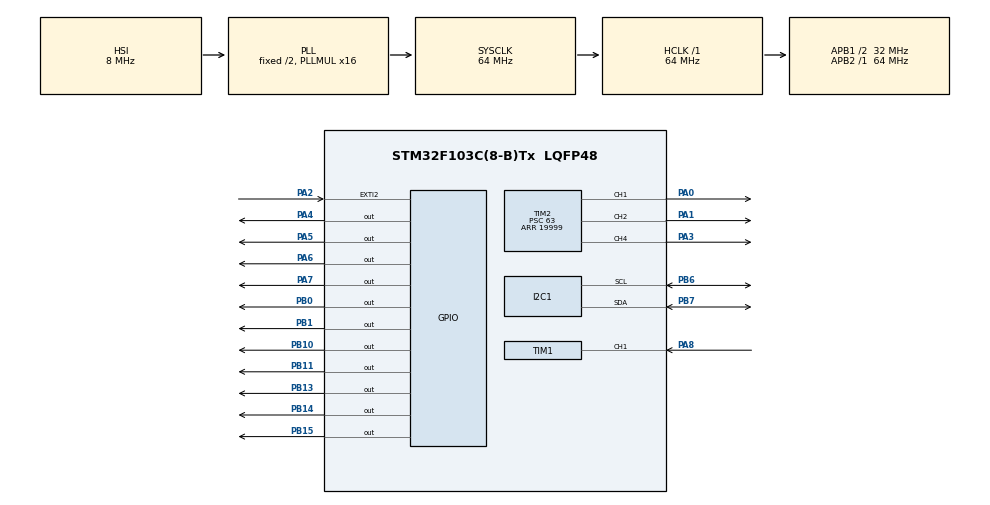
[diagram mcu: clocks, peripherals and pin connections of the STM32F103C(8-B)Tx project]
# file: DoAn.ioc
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Mcu.Family=STM32F1
Mcu.Name=STM32F103C(8-B)Tx
Mcu.Package=LQFP48
NVIC.EXTI2_IRQn=true\:0\:0\:false\:false\:true\:true\:true\:true
NVIC.PriorityGroup=NVIC_PRIORITYGROUP_4
PA0-WKUP.Signal=S_TIM2_CH1_ETR
PA1.Signal=S_TIM2_CH2
PA13.Mode=Serial_Wire
PA13.Signal=SYS_JTMS-SWDIO
PA14.Mode=Serial_Wire
PA14.Signal=SYS_JTCK-SWCLK
PA2.GPIO_ModeDefaultEXTI=GPIO_MODE_IT_FALLING
PA2.GPIO_PuPd=GPIO_PULLUP
PA2.Signal=GPXTI2
PA3.Signal=S_TIM2_CH4
PA4.Signal=GPIO_Output
PA5.Signal=GPIO_Output
PA6.Signal=GPIO_Output
PA7.Signal=GPIO_Output
PA8.Signal=S_TIM1_CH1
PB0.Signal=GPIO_Output
PB1.Signal=GPIO_Output
PB10.Signal=GPIO_Output
PB11.Signal=GPIO_Output
PB13.Signal=GPIO_Output
PB14.Signal=GPIO_Output
PB15.Signal=GPIO_Output
PB6.Mode=I2C
PB6.Signal=I2C1_SCL
PB7.Mode=I2C
PB7.Signal=I2C1_SDA
PD0-OSC_IN.Mode=HSE-External-Oscillator
PD0-OSC_IN.Signal=RCC_OSC_IN
PD1-OSC_OUT.Mode=HSE-External-Oscillator
PD1-OSC_OUT.Signal=RCC_OSC_OUT
ProjectManager.HeapSize=0x200
ProjectManager.StackSize=0x400
ProjectManager.TargetToolchain=STM32CubeIDE
RCC.AHBFreq_Value=64000000
RCC.APB1CLKDivider=RCC_HCLK_DIV2
RCC.APB1Freq_Value=32000000
RCC.APB1TimFreq_Value=64000000
RCC.APB2Freq_Value=64000000
RCC.APB2TimFreq_Value=64000000
RCC.HCLKFreq_Value=64000000
RCC.PLLMUL=RCC_PLL_MUL16
RCC.SYSCLKFreq_VALUE=64000000
RCC.SYSCLKSource=RCC_SYSCLKSOURCE_PLLCLK
RCC.USBFreq_Value=64000000
SH.S_TIM1_CH1.0=TIM1_CH1,Input_Capture1_from_TI1
SH.S_TIM2_CH1_ETR.0=TIM2_CH1,PWM Generation1 CH1
SH.S_TIM2_CH2.0=TIM2_CH2,PWM Generation2 CH2
SH.S_TIM2_CH4.0=TIM2_CH4,PWM Generation4 CH4
TIM1.Channel-Input_Capture1_from_TI1=TIM_CHANNEL_1
TIM1.Prescaler=63
TIM2.Channel-PWM\ Generation1\ CH1=TIM_CHANNEL_1
TIM2.Channel-PWM\ Generation2\ CH2=TIM_CHANNEL_2
TIM2.Channel-PWM\ Generation4\ CH4=TIM_CHANNEL_4
TIM2.Period=19999
TIM2.Prescaler=63
VP_TIM1_VS_ClockSourceINT.Mode=Internal
VP_TIM2_VS_ClockSourceINT.Mode=Internal
board=custom

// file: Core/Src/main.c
/* USER CODE BEGIN Header */
/**
  ******************************************************************************
  * @file           : main.c
  * @brief          : Main program body
  ******************************************************************************
  * @attention
  *
  * Copyright (c) 2025 STMicroelectronics.
  * All rights reserved.
  *
  * This software is licensed under terms that can be found in the LICENSE file
  * in the root directory of this software component.
  * If no LICENSE file comes with this software, it is provided AS-IS.
  *
  ******************************************************************************
  */
/* USER CODE END Header */
#include "main.h"

/* USER CODE BEGIN Includes */
#include "liquidcrystal_i2c.h"
#include <stdio.h>    // Dùng cho snprintf
/* USER CODE END Includes */

I2C_HandleTypeDef hi2c1;

TIM_HandleTypeDef htim1;
TIM_HandleTypeDef htim2;

/* USER CODE BEGIN PV */
volatile uint32_t flag = 0;
volatile uint32_t start = 1;

int cnt_orange = 0;
int cnt_blue = 0;
int cnt_green = 0;
int cnt_yellow = 0;
int cnt_unknown = 0;
/* USER CODE END PV */

void SystemClock_Config(void);
static void MX_GPIO_Init(void);
static void MX_TIM2_Init(void);
static void MX_I2C1_Init(void);
static void MX_TIM1_Init(void);

/* USER CODE BEGIN 0 */
void servo_init();
void servo_write(uint16_t _ccr);

void servo_init()
{
	HAL_TIM_PWM_Start(&htim2, TIM_CHANNEL_1);
	HAL_TIM_PWM_Start(&htim2, TIM_CHANNEL_2);
	HAL_TIM_PWM_Start(&htim2, TIM_CHANNEL_4);
}

void servo1_write(uint16_t pwm1)
{

	uint16_t _ccr = (1000 * pwm1) / 180 + 1000;
	htim2.Instance->CCR1 = _ccr + 500;
}

void servo2_write(uint16_t pwm2)
{
	uint16_t _ccr = (1000 * pwm2) / 180 + 1000;
	htim2.Instance->CCR2 = _ccr - 100;
}

void servo3_write(uint16_t pwm3)
{
	uint16_t _ccr = (1000 * pwm3) / 180 + 1000;
	htim2.Instance->CCR4 = _ccr - 300;
}

void HAL_GPIO_EXTI_Callback(uint16_t GPIO_Pin)
{
  if (GPIO_Pin == GPIO_PIN_2)
  {
    static uint32_t last_interrupt_time = 0;
    uint32_t interrupt_time = HAL_GetTick();

    if (interrupt_time - last_interrupt_time > 200)
    {
      flag = 1;
    }
    last_interrupt_time = interrupt_time;
  }
}

uint32_t red = 0, green = 0, blue = 0;

uint32_t measure_pulse(void)
{
    uint32_t t1, t2;
    uint32_t timeout;

    __HAL_TIM_SET_COUNTER(&htim1, 0);
    __HAL_TIM_CLEAR_FLAG(&htim1, TIM_FLAG_CC1);

    timeout = HAL_GetTick();
    while (__HAL_TIM_GET_FLAG(&htim1, TIM_FLAG_CC1) == RESET)
    {
        if (HAL_GetTick() - timeout > 10)
            return 0;
    }
    t1 = HAL_TIM_ReadCapturedValue(&htim1, TIM_CHANNEL_1);
    __HAL_TIM_CLEAR_FLAG(&htim1, TIM_FLAG_CC1);

    timeout = HAL_GetTick();
    while (__HAL_TIM_GET_FLAG(&htim1, TIM_FLAG_CC1) == RESET)
    {
        if (HAL_GetTick() - timeout > 10)
            return 0;
    }
    t2 = HAL_TIM_ReadCapturedValue(&htim1, TIM_CHANNEL_1);

    return (t2 > t1) ? (t2 - t1) : 0;
}

uint32_t measure_pulse_avg(uint8_t samples)
{
    uint32_t sum = 0;
    for (uint8_t i = 0; i < samples; i++)
    {
        sum += measure_pulse();
    }
    return sum / samples;
}

void read_color(void) {
    // Filter Red
    HAL_GPIO_WritePin(GPIOB, GPIO_PIN_10, GPIO_PIN_RESET);
    HAL_GPIO_WritePin(GPIOB, GPIO_PIN_11, GPIO_PIN_RESET);
    red = measure_pulse_avg(5);
    HAL_Delay(3);

    // Filter Blue
    HAL_GPIO_WritePin(GPIOB, GPIO_PIN_10, GPIO_PIN_RESET);
    HAL_GPIO_WritePin(GPIOB, GPIO_PIN_11, GPIO_PIN_SET);
    blue = measure_pulse_avg(5);
    HAL_Delay(3);

    // Filter Green
    HAL_GPIO_WritePin(GPIOB, GPIO_PIN_10, GPIO_PIN_SET);
    HAL_GPIO_WritePin(GPIOB, GPIO_PIN_11, GPIO_PIN_SET);
    green = measure_pulse_avg(5);
    HAL_Delay(3);
}

/* USER CODE END 0 */

int main(void)
{

  /* MCU Configuration--------------------------------------------------------*/

  /* Reset of all peripherals, Initializes the Flash interface and the Systick. */
  HAL_Init();

  /* Configure the system clock */
  SystemClock_Config();

  /* Initialize all configured peripherals */
  MX_GPIO_Init();
  MX_TIM2_Init();
  MX_I2C1_Init();
  MX_TIM1_Init();
  /* USER CODE BEGIN 2 */
  servo_init();

  HAL_TIM_IC_Start(&htim1, TIM_CHANNEL_1);
  HAL_TIM_PWM_Start(&htim2, TIM_CHANNEL_1);
  HAL_TIM_PWM_Start(&htim2, TIM_CHANNEL_2);
  HAL_TIM_PWM_Start(&htim2, TIM_CHANNEL_4);

  // Thiết lập tần số TCS3200 100% (S0, S1 = HIGH)
  HAL_GPIO_WritePin(GPIOB, GPIO_PIN_0 | GPIO_PIN_1, GPIO_PIN_SET);

  servo2_write(180);
  servo1_write(180);

  HD44780_Init(2);

  HD44780_Clear();
  char buf_yellow[12];
  char buf_orange[12];
  char buf_green[12];
  char buf_unknown[12];

  itoa(cnt_yellow, buf_yellow, 10);
  itoa(cnt_orange, buf_orange, 10);
  itoa(cnt_green, buf_green, 10);
  itoa(cnt_unknown, buf_unknown, 10);

  HD44780_SetCursor(0,0);
  HD44780_PrintStr("Y: ");
  HD44780_SetCursor(3, 0);
  HD44780_PrintStr(buf_yellow);

  HD44780_SetCursor(9,0);
  HD44780_PrintStr("O: ");
  HD44780_SetCursor(12, 0);
  HD44780_PrintStr(buf_orange);

  HD44780_SetCursor(0,1);
  HD44780_PrintStr("G: ");
  HD44780_SetCursor(3,1);
  HD44780_PrintStr(buf_green);

  HD44780_SetCursor(9,1);
  HD44780_PrintStr("RAC: ");
  HD44780_SetCursor(14,1);
  HD44780_PrintStr(buf_unknown);

  /* USER CODE END 2 */

  /* Infinite loop */
  /* USER CODE BEGIN WHILE */
  while (1)
  {
	  if(flag || start)
	  {
		  flag = 0; start = 0;

		  read_color();
		  servo1_write(30);
		  HAL_Delay(2000);
		  servo1_write(165);
		  HAL_Delay(2000);

		  read_color();
		  if(!(red >= 100 && blue >= 100 && green >= 100))
		  {
			  if(blue >= red && blue >= green)
			  {
				  cnt_yellow++;
				  servo3_write(80);

				  // Xóa số cũ (ghi đè)
				  HD44780_SetCursor(3, 0);
				  HD44780_PrintStr("  ");

				  // In số mới
				  itoa(cnt_yellow, buf_yellow, 10);
				  HD44780_SetCursor(3, 0);
				  HD44780_PrintStr(buf_yellow);
			  }

			  else if(blue <= green && (red * 1.5) <= blue)
			  {
				  cnt_orange++;
				  servo3_write(140);

				  // Xóa số cũ (ghi đè)
				  HD44780_SetCursor(12, 0);
				  HD44780_PrintStr("  ");

				  // In số mới
				  itoa(cnt_orange, buf_orange, 10);
				  HD44780_SetCursor(12, 0);
				  HD44780_PrintStr(buf_orange);
			  }

			  else if(blue >= green && blue <= red)
			  {
				  cnt_green++;
				  servo3_write(190);

				  // Xóa số cũ (ghi đè)
				  HD44780_SetCursor(3, 1);
				  HD44780_PrintStr("  ");

				  // In số mới
				  itoa(cnt_green, buf_green, 10);
				  HD44780_SetCursor(3, 1);
				  HD44780_PrintStr(buf_green);
			  }

			  else
			  {
				  cnt_unknown++;
				  servo3_write(250);

				  // Xóa số cũ (ghi đè)
				  HD44780_SetCursor(14, 1);
				  HD44780_PrintStr("  ");

				  // In số mới
				  itoa(cnt_unknown, buf_unknown, 10);
				  HD44780_SetCursor(14, 1);
				  HD44780_PrintStr(buf_unknown);
			  }
			  HAL_Delay(1000);

			  servo2_write(15);
			  HAL_Delay(1000);
			  servo2_write(180);
			  HAL_Delay(1000);
		  }
	  }

    /* USER CODE END WHILE */

  }
}

void SystemClock_Config(void)
{
  RCC_OscInitTypeDef RCC_OscInitStruct = {0};
  RCC_ClkInitTypeDef RCC_ClkInitStruct = {0};

  /** Initializes the RCC Oscillators according to the specified parameters
  * in the RCC_OscInitTypeDef structure.
  */
  RCC_OscInitStruct.OscillatorType = RCC_OSCILLATORTYPE_HSI;
  RCC_OscInitStruct.HSIState = RCC_HSI_ON;
  RCC_OscInitStruct.HSICalibrationValue = RCC_HSICALIBRATION_DEFAULT;
  RCC_OscInitStruct.PLL.PLLState = RCC_PLL_ON;
  RCC_OscInitStruct.PLL.PLLSource = RCC_PLLSOURCE_HSI_DIV2;
  RCC_OscInitStruct.PLL.PLLMUL = RCC_PLL_MUL16;
  if (HAL_RCC_OscConfig(&RCC_OscInitStruct) != HAL_OK)
  {
    Error_Handler();
  }

  /** Initializes the CPU, AHB and APB buses clocks
  */
  RCC_ClkInitStruct.ClockType = RCC_CLOCKTYPE_HCLK|RCC_CLOCKTYPE_SYSCLK
                              |RCC_CLOCKTYPE_PCLK1|RCC_CLOCKTYPE_PCLK2;
  RCC_ClkInitStruct.SYSCLKSource = RCC_SYSCLKSOURCE_PLLCLK;
  RCC_ClkInitStruct.AHBCLKDivider = RCC_SYSCLK_DIV1;
  RCC_ClkInitStruct.APB1CLKDivider = RCC_HCLK_DIV2;
  RCC_ClkInitStruct.APB2CLKDivider = RCC_HCLK_DIV1;

  if (HAL_RCC_ClockConfig(&RCC_ClkInitStruct, FLASH_LATENCY_2) != HAL_OK)
  {
    Error_Handler();
  }
}

static void MX_I2C1_Init(void)
{

  hi2c1.Instance = I2C1;
  hi2c1.Init.ClockSpeed = 100000;
  hi2c1.Init.DutyCycle = I2C_DUTYCYCLE_2;
  hi2c1.Init.OwnAddress1 = 0;
  hi2c1.Init.AddressingMode = I2C_ADDRESSINGMODE_7BIT;
  hi2c1.Init.DualAddressMode = I2C_DUALADDRESS_DISABLE;
  hi2c1.Init.OwnAddress2 = 0;
  hi2c1.Init.GeneralCallMode = I2C_GENERALCALL_DISABLE;
  hi2c1.Init.NoStretchMode = I2C_NOSTRETCH_DISABLE;
  if (HAL_I2C_Init(&hi2c1) != HAL_OK)
  {
    Error_Handler();
  }

}

static void MX_TIM1_Init(void)
{

  TIM_ClockConfigTypeDef sClockSourceConfig = {0};
  TIM_MasterConfigTypeDef sMasterConfig = {0};
  TIM_IC_InitTypeDef sConfigIC = {0};

  htim1.Instance = TIM1;
  htim1.Init.Prescaler = 63;
  htim1.Init.CounterMode = TIM_COUNTERMODE_UP;
  htim1.Init.Period = 65535;
  htim1.Init.ClockDivision = TIM_CLOCKDIVISION_DIV1;
  htim1.Init.RepetitionCounter = 0;
  htim1.Init.AutoReloadPreload = TIM_AUTORELOAD_PRELOAD_DISABLE;
  if (HAL_TIM_Base_Init(&htim1) != HAL_OK)
  {
    Error_Handler();
  }
  sClockSourceConfig.ClockSource = TIM_CLOCKSOURCE_INTERNAL;
  if (HAL_TIM_ConfigClockSource(&htim1, &sClockSourceConfig) != HAL_OK)
  {
    Error_Handler();
  }
  if (HAL_TIM_IC_Init(&htim1) != HAL_OK)
  {
    Error_Handler();
  }
  sMasterConfig.MasterOutputTrigger = TIM_TRGO_RESET;
  sMasterConfig.MasterSlaveMode = TIM_MASTERSLAVEMODE_DISABLE;
  if (HAL_TIMEx_MasterConfigSynchronization(&htim1, &sMasterConfig) != HAL_OK)
  {
    Error_Handler();
  }
  sConfigIC.ICPolarity = TIM_INPUTCHANNELPOLARITY_RISING;
  sConfigIC.ICSelection = TIM_ICSELECTION_DIRECTTI;
  sConfigIC.ICPrescaler = TIM_ICPSC_DIV1;
  sConfigIC.ICFilter = 0;
  if (HAL_TIM_IC_ConfigChannel(&htim1, &sConfigIC, TIM_CHANNEL_1) != HAL_OK)
  {
    Error_Handler();
  }

}

static void MX_TIM2_Init(void)
{

  TIM_ClockConfigTypeDef sClockSourceConfig = {0};
  TIM_MasterConfigTypeDef sMasterConfig = {0};
  TIM_OC_InitTypeDef sConfigOC = {0};

  htim2.Instance = TIM2;
  htim2.Init.Prescaler = 63;
  htim2.Init.CounterMode = TIM_COUNTERMODE_UP;
  htim2.Init.Period = 19999;
  htim2.Init.ClockDivision = TIM_CLOCKDIVISION_DIV1;
  htim2.Init.AutoReloadPreload = TIM_AUTORELOAD_PRELOAD_DISABLE;
  if (HAL_TIM_Base_Init(&htim2) != HAL_OK)
  {
    Error_Handler();
  }
  sClockSourceConfig.ClockSource = TIM_CLOCKSOURCE_INTERNAL;
  if (HAL_TIM_ConfigClockSource(&htim2, &sClockSourceConfig) != HAL_OK)
  {
    Error_Handler();
  }
  if (HAL_TIM_PWM_Init(&htim2) != HAL_OK)
  {
    Error_Handler();
  }
  sMasterConfig.MasterOutputTrigger = TIM_TRGO_RESET;
  sMasterConfig.MasterSlaveMode = TIM_MASTERSLAVEMODE_DISABLE;
  if (HAL_TIMEx_MasterConfigSynchronization(&htim2, &sMasterConfig) != HAL_OK)
  {
    Error_Handler();
  }
  sConfigOC.OCMode = TIM_OCMODE_PWM1;
  sConfigOC.Pulse = 0;
  sConfigOC.OCPolarity = TIM_OCPOLARITY_HIGH;
  sConfigOC.OCFastMode = TIM_OCFAST_DISABLE;
  if (HAL_TIM_PWM_ConfigChannel(&htim2, &sConfigOC, TIM_CHANNEL_1) != HAL_OK)
  {
    Error_Handler();
  }
  if (HAL_TIM_PWM_ConfigChannel(&htim2, &sConfigOC, TIM_CHANNEL_2) != HAL_OK)
  {
    Error_Handler();
  }
  if (HAL_TIM_PWM_ConfigChannel(&htim2, &sConfigOC, TIM_CHANNEL_4) != HAL_OK)
  {
    Error_Handler();
  }
  HAL_TIM_MspPostInit(&htim2);

}

static void MX_GPIO_Init(void)
{
  GPIO_InitTypeDef GPIO_InitStruct = {0};

  /* GPIO Ports Clock Enable */
  __HAL_RCC_GPIOD_CLK_ENABLE();
  __HAL_RCC_GPIOA_CLK_ENABLE();
  __HAL_RCC_GPIOB_CLK_ENABLE();

  /*Configure GPIO pin Output Level */
  HAL_GPIO_WritePin(GPIOB, GPIO_PIN_0|GPIO_PIN_1|GPIO_PIN_10|GPIO_PIN_11, GPIO_PIN_RESET);

  /*Configure GPIO pin : PA2 */
  GPIO_InitStruct.Pin = GPIO_PIN_2;
  GPIO_InitStruct.Mode = GPIO_MODE_IT_FALLING;
  GPIO_InitStruct.Pull = GPIO_PULLUP;
  HAL_GPIO_Init(GPIOA, &GPIO_InitStruct);

  /*Configure GPIO pins : PB0 PB1 PB10 PB11 */
  GPIO_InitStruct.Pin = GPIO_PIN_0|GPIO_PIN_1|GPIO_PIN_10|GPIO_PIN_11;
  GPIO_InitStruct.Mode = GPIO_MODE_OUTPUT_PP;
  GPIO_InitStruct.Pull = GPIO_NOPULL;
  GPIO_InitStruct.Speed = GPIO_SPEED_FREQ_LOW;
  HAL_GPIO_Init(GPIOB, &GPIO_InitStruct);

  /* EXTI interrupt init*/
  HAL_NVIC_SetPriority(EXTI2_IRQn, 0, 0);
  HAL_NVIC_EnableIRQ(EXTI2_IRQn);

}

void Error_Handler(void)
{
  __disable_irq();
  while (1)
  {
  }
}
